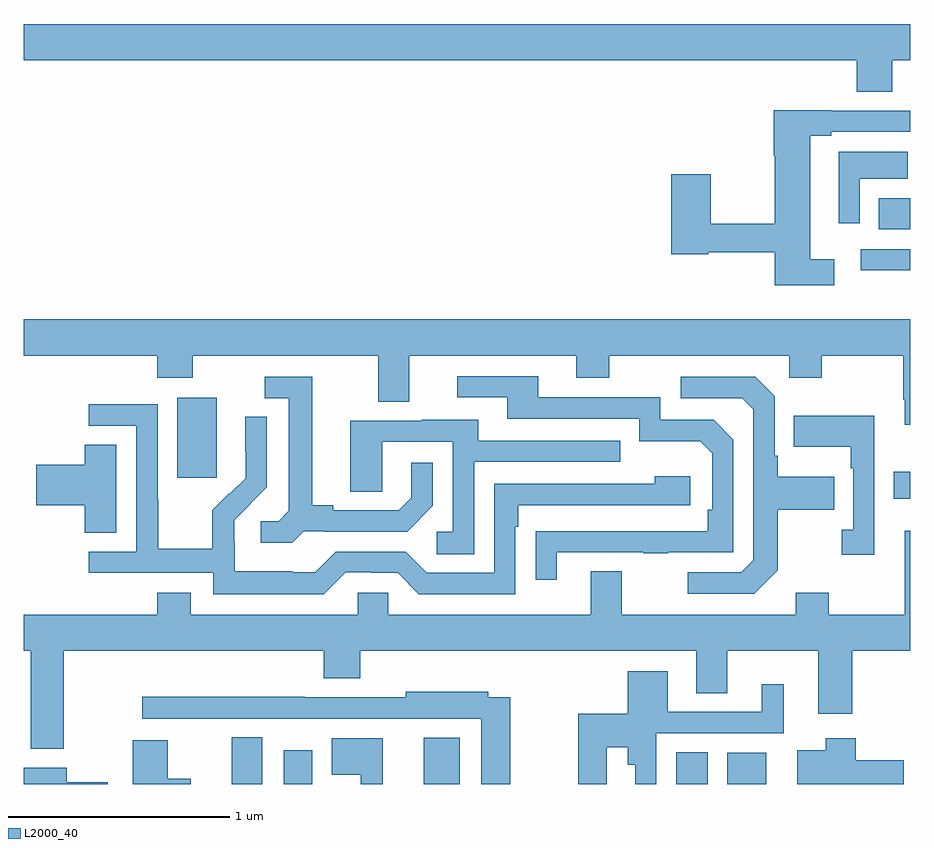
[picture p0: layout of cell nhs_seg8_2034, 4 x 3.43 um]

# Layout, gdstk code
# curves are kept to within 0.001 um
import gdstk
lib = gdstk.Library(unit=1e-6, precision=1e-09)
def R(c, l, rs):  # rectangles x0, y0, x1, y1
    for r in rs: c.add(gdstk.rectangle(r[:2], r[2:], *l))
def P(c, l, *ps):  # polygons
    for p in ps: c.add(gdstk.Polygon(p, *l))
L2000_40 = (2000, 40)

nhs_seg8_2034 = lib.new_cell('nhs_seg8_2034')
R(nhs_seg8_2034, L2000_40, [(239.939,1115.9,240.076,1116.11), (240.173,1115.9,240.301,1116.052), (240.806,1115.9,240.967,1116.109), (241.943,1115.9,242.086,1116.044), (242.174,1115.9,242.35,1116.04), (242.925,1117.187,243,1117.309), (239.693,1117.281,239.872,1117.642), (242.775,1118.217,243,1118.313), (242.857,1118.402,243,1118.542)])
P(nhs_seg8_2034, L2000_40, [(242.919,1119.164),(243,1119.164),(243,1119.328),(239,1119.328),(239,1119.164),(242.759,1119.164),(242.759,1119.022),(242.919,1119.022)],
  [(242.656,1118.267),(242.548,1118.267),(242.548,1118.825),(242.644,1118.825),(242.644,1118.841),(243,1118.841),(243,1118.937),(242.644,1118.937),(242.644,1118.94),(242.384,1118.94),(242.384,1118.734),(242.389,1118.734),(242.389,1118.426),(242.1,1118.426),(242.1,1118.65),(241.922,1118.65),(241.922,1118.29),(242.088,1118.29),(242.088,1118.298),(242.389,1118.298),(242.389,1118.15),(242.656,1118.15)],
  [(242.772,1118.63),(242.989,1118.63),(242.989,1118.751),(242.677,1118.751),(242.677,1118.648),(242.676,1118.648),(242.676,1118.43),(242.772,1118.43)],
  [(243,1117.996),(239,1117.996),(239,1117.832),(239.603,1117.832),(239.603,1117.733),(239.763,1117.733),(239.763,1117.832),(240.599,1117.832),(240.599,1117.624),(240.739,1117.624),(240.739,1117.832),(241.493,1117.832),(241.493,1117.733),(241.641,1117.733),(241.641,1117.832),(242.454,1117.832),(242.454,1117.733),(242.601,1117.733),(242.601,1117.832),(242.968,1117.832),(242.968,1117.633),(242.975,1117.633),(242.975,1117.521),(243,1117.521)],
  [(241.405,1116.945),(241.795,1116.945),(241.795,1116.94),(241.907,1116.94),(241.907,1116.945),(242.202,1116.945),(242.202,1117.452),(242.112,1117.542),(241.872,1117.542),(241.872,1117.644),(241.321,1117.644),(241.321,1117.74),(240.957,1117.74),(240.957,1117.644),(241.181,1117.644),(241.181,1117.548),(241.776,1117.548),(241.776,1117.445),(242.053,1117.445),(242.106,1117.392),(242.106,1117.138),(242.086,1117.138),(242.086,1117.041),(241.309,1117.04),(241.309,1116.822),(241.405,1116.822)],
  [(240.264,1117.041),(240.358,1117.041),(240.358,1117.038),(240.73,1117.038),(240.846,1117.154),(240.846,1117.348),(240.749,1117.348),(240.749,1117.191),(240.692,1117.134),(240.397,1117.134),(240.397,1117.157),(240.301,1117.157),(240.301,1117.737),(240.087,1117.737),(240.087,1117.641),(240.197,1117.641),(240.197,1117.133),(240.15,1117.086),(240.069,1117.086),(240.069,1116.989),(240.212,1116.989)],
  [(242.401,1116.865),(242.401,1117.138),(242.657,1117.138),(242.657,1117.285),(242.401,1117.285),(242.401,1117.381),(242.388,1117.381),(242.388,1117.65),(242.301,1117.737),(241.965,1117.737),(241.965,1117.641),(242.241,1117.641),(242.292,1117.59),(242.292,1116.909),(242.238,1116.855),(241.995,1116.855),(241.995,1116.759),(242.295,1116.759)],
  [(240.453,1116.855),(240.569,1116.855),(240.569,1116.852),(240.687,1116.852),(240.783,1116.756),(241.218,1116.756),(241.218,1117.061),(241.231,1117.061),(241.231,1117.158),(242.008,1117.158),(242.008,1117.288),(241.847,1117.288),(241.847,1117.254),(241.122,1117.254),(241.122,1116.852),(240.819,1116.852),(240.723,1116.948),(240.408,1116.948),(240.315,1116.855),(240.215,1116.855),(240.215,1116.859),(239.952,1116.859),(239.952,1116.993),(239.95,1116.993),(239.95,1117.09),(240.096,1117.238),(240.096,1117.556),(240,1117.556),(240,1117.402),(240.002,1117.402),(240.002,1117.28),(239.931,1117.209),(239.928,1117.212),(239.851,1117.135),(239.851,1116.961),(239.607,1116.961),(239.607,1117.184),(239.604,1117.184),(239.604,1117.614),(239.295,1117.614),(239.295,1117.515),(239.508,1117.515),(239.508,1116.948),(239.295,1116.948),(239.295,1116.852),(239.856,1116.852),(239.856,1116.755),(240.353,1116.755)],
  [(242.838,1117.561),(242.473,1117.561),(242.473,1117.421),(242.73,1117.421),(242.73,1117.325),(242.742,1117.325),(242.742,1117.046),(242.691,1117.046),(242.691,1116.933),(242.838,1116.933)],
  [(241.032,1117.353),(241.691,1117.353),(241.691,1117.449),(241.051,1117.449),(241.051,1117.543),(240.797,1117.543),(240.797,1117.539),(240.473,1117.539),(240.473,1117.219),(240.618,1117.219),(240.618,1117.443),(240.936,1117.443),(240.936,1117.038),(240.864,1117.038),(240.864,1116.937),(241.032,1116.937)],
  [(239.419,1117.43),(239.276,1117.43),(239.276,1117.34),(239.058,1117.34),(239.058,1117.157),(239.276,1117.157),(239.276,1117.033),(239.419,1117.033)],
  [(242.033,1116.31),(242.173,1116.31),(242.173,1116.5),(242.585,1116.5),(242.585,1116.216),(242.738,1116.216),(242.738,1116.5),(243,1116.5),(243,1117.042),(242.975,1117.042),(242.975,1116.664),(242.631,1116.664),(242.631,1116.763),(242.483,1116.763),(242.483,1116.664),(241.699,1116.664),(241.699,1116.859),(241.559,1116.859),(241.559,1116.664),(240.645,1116.664),(240.645,1116.762),(240.507,1116.762),(240.507,1116.664),(239.755,1116.664),(239.755,1116.763),(239.603,1116.763),(239.603,1116.664),(239,1116.664),(239,1116.5),(239.033,1116.5),(239.033,1116.059),(239.181,1116.059),(239.181,1116.5),(240.353,1116.5),(240.353,1116.376),(240.518,1116.376),(240.518,1116.5),(242.033,1116.5)],
  [(241.63,1116.065),(241.724,1116.065),(241.724,1115.987),(241.758,1115.987),(241.758,1115.9),(241.854,1115.9),(241.854,1116.129),(242.428,1116.129),(242.428,1116.349),(242.33,1116.349),(242.33,1116.225),(241.906,1116.225),(241.906,1116.409),(241.724,1116.409),(241.724,1116.217),(241.501,1116.217),(241.501,1115.9),(241.63,1115.9)],
  [(241.194,1116.291),(241.095,1116.291),(241.095,1116.316),(240.723,1116.316),(240.723,1116.291),(240.269,1116.291),(240.269,1116.293),(239.535,1116.293),(239.535,1116.195),(241.064,1116.195),(241.064,1115.9),(241.194,1115.9)],
  [(240.62,1116.106),(240.39,1116.106),(240.39,1115.941),(240.521,1115.941),(240.521,1115.9),(240.62,1115.9)],
  [(242.971,1116.008),(242.753,1116.008),(242.753,1116.106),(242.618,1116.106),(242.618,1116.052),(242.489,1116.052),(242.489,1115.9),(242.971,1115.9)],
  [(239.755,1115.923),(239.65,1115.923),(239.65,1116.097),(239.492,1116.097),(239.492,1115.9),(239.755,1115.9)],
  [(239.38,1115.909),(239.194,1115.909),(239.194,1115.974),(239,1115.974),(239,1115.9),(239.38,1115.9)])

lib.write_gds('nhs_seg8_2034.gds')
